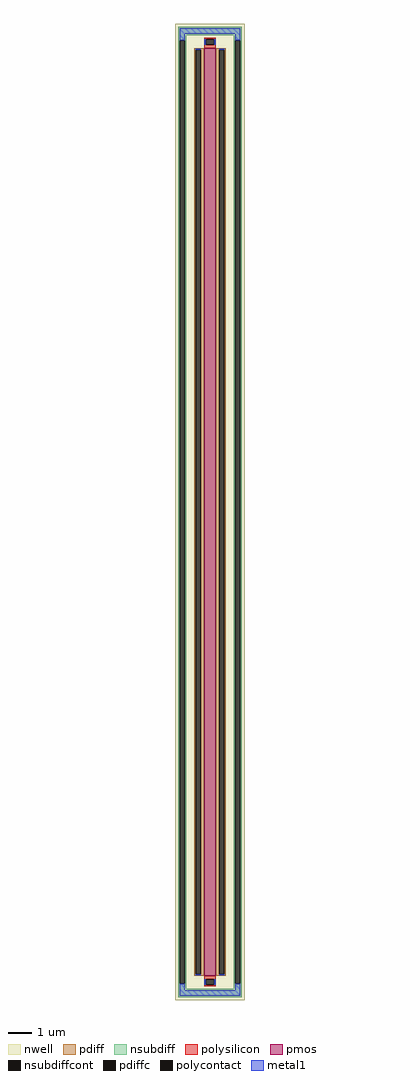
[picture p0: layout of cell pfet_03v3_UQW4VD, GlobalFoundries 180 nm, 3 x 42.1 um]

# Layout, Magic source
magic
tech gf180mcuD
magscale 1 10
<< nwell >>
rect -300 -4210 300 4210
<< pmos >>
rect -50 -4000 50 4000
<< pdiff >>
rect -138 3987 -50 4000
rect -138 -3987 -125 3987
rect -79 -3987 -50 3987
rect -138 -4000 -50 -3987
rect 50 3987 138 4000
rect 50 -3987 79 3987
rect 125 -3987 138 3987
rect 50 -4000 138 -3987
<< pdiffc >>
rect -125 -3987 -79 3987
rect 79 -3987 125 3987
<< nsubdiff >>
rect -276 4114 276 4186
rect -276 4070 -204 4114
rect -276 -4070 -263 4070
rect -217 -4070 -204 4070
rect 204 4070 276 4114
rect -276 -4114 -204 -4070
rect 204 -4070 217 4070
rect 263 -4070 276 4070
rect 204 -4114 276 -4070
rect -276 -4186 276 -4114
<< nsubdiffcont >>
rect -263 -4070 -217 4070
rect 217 -4070 263 4070
<< polysilicon >>
rect -50 4079 50 4092
rect -50 4033 -37 4079
rect 37 4033 50 4079
rect -50 4000 50 4033
rect -50 -4033 50 -4000
rect -50 -4079 -37 -4033
rect 37 -4079 50 -4033
rect -50 -4092 50 -4079
<< polycontact >>
rect -37 4033 37 4079
rect -37 -4079 37 -4033
<< metal1 >>
rect -263 4127 263 4173
rect -263 4070 -217 4127
rect -48 4033 -37 4079
rect 37 4033 48 4079
rect 217 4070 263 4127
rect -125 3987 -79 3998
rect -125 -3998 -79 -3987
rect 79 3987 125 3998
rect 79 -3998 125 -3987
rect -263 -4127 -217 -4070
rect -48 -4079 -37 -4033
rect 37 -4079 48 -4033
rect 217 -4127 263 -4070
rect -263 -4173 263 -4127
<< properties >>
string FIXED_BBOX -240 -4150 240 4150
string gencell pfet_03v3
string library gf180mcu
string parameters w 40.0 l 0.5 m 1 nf 1 diffcov 100 polycov 100 guard 1 glc 1 grc 1 gtc 0 gbc 0 tbcov 100 rlcov 100 topc 1 botc 1 poverlap 0 doverlap 1 lmin 0.28 wmin 0.22 class mosfet full_metal 1 compatible {pfet_03v3 pfet_05v0 pfet_06v0} ad int((nf+1)/2)*W/nf*0.18u as int((nf+2)/2)*W/nf*0.18u pd 2*int((nf+1)/2)*(W/nf+0.18u) ps 2*int((nf+2)/2)*(W/nf+0.18u) nrd 0.18u/W nrs 0.18u/W sa 0 sb 0 sd 0
<< end >>
